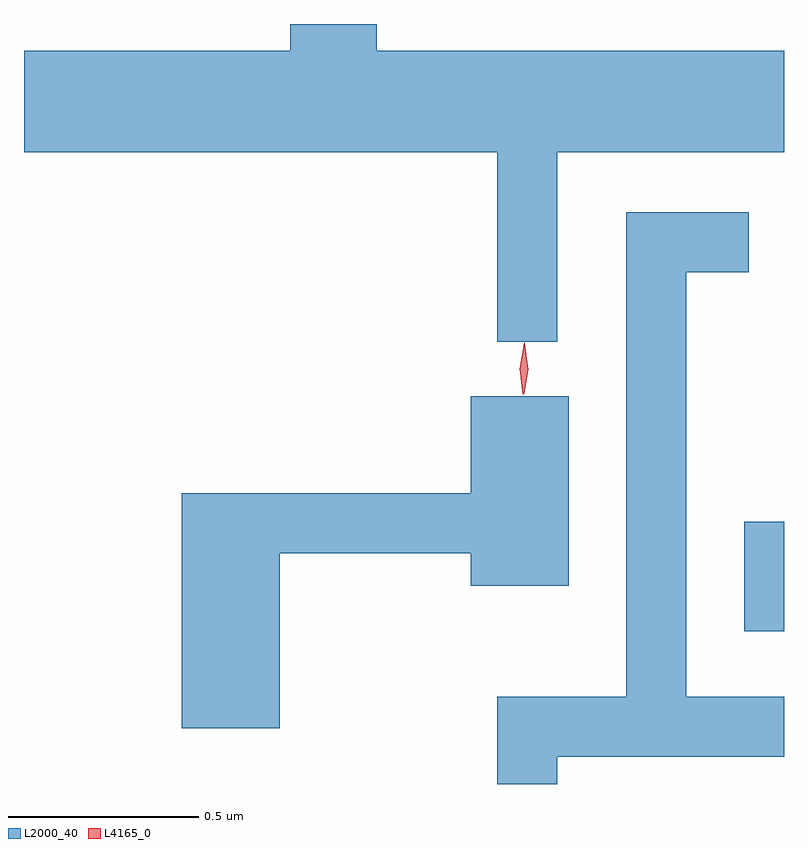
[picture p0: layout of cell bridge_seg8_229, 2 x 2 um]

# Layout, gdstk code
import gdstk
lib = gdstk.Library(unit=1e-6, precision=1e-09)
def R(c, l, rs):  # rectangles x0, y0, x1, y1
    for r in rs: c.add(gdstk.rectangle(r[:2], r[2:], *l))
def P(c, l, *ps):  # polygons
    for p in ps: c.add(gdstk.Polygon(p, *l))
L2000_40 = (2000, 40)
L4165_0 = (4165, 0)

bridge_seg8_229 = lib.new_cell('bridge_seg8_229')
R(bridge_seg8_229, L2000_40, [(1067.746,1912.856,1067.851,1913.144)])
P(bridge_seg8_229, L2000_40, [(1067.254,1914.116),(1067.851,1914.116),(1067.851,1914.384),(1066.779,1914.384),(1066.779,1914.454),(1066.551,1914.454),(1066.551,1914.384),(1065.851,1914.384),(1065.851,1914.116),(1067.096,1914.116),(1067.096,1913.618),(1067.254,1913.618)],
  [(1067.254,1912.526),(1067.851,1912.526),(1067.851,1912.684),(1067.594,1912.684),(1067.594,1913.801),(1067.758,1913.801),(1067.758,1913.959),(1067.436,1913.959),(1067.436,1912.684),(1067.096,1912.684),(1067.096,1912.454),(1067.254,1912.454)],
  [(1066.524,1913.061),(1067.026,1913.061),(1067.026,1912.976),(1067.284,1912.976),(1067.284,1913.474),(1067.026,1913.474),(1067.026,1913.219),(1066.266,1913.219),(1066.266,1912.601),(1066.524,1912.601)])
P(bridge_seg8_229, L4165_0, [(1067.166,1913.48),(1067.166,1913.481),(1067.158,1913.546),(1067.168,1913.611),(1067.169,1913.612),(1067.169,1913.611),(1067.178,1913.546),(1067.167,1913.481)],
  [(1067.164,1913.478),(1067.164,1913.478),(1067.156,1913.547),(1067.168,1913.615),(1067.169,1913.615),(1067.169,1913.615),(1067.176,1913.546),(1067.164,1913.478)])

lib.write_gds('bridge_seg8_229.gds')
